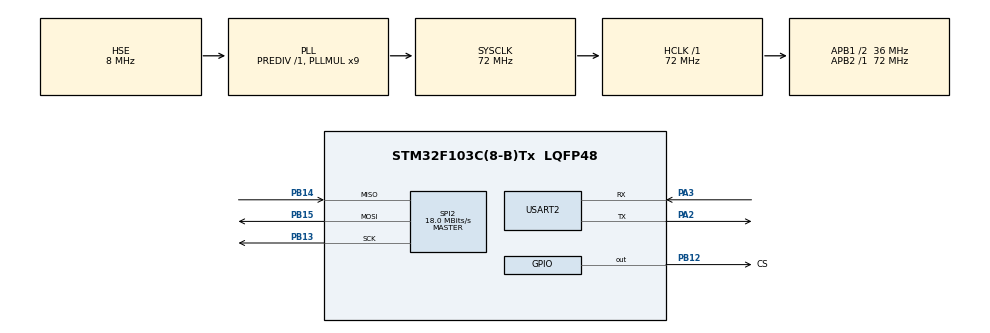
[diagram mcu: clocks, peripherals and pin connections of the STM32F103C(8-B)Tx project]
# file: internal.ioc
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Dma.Request0=SPI2_RX
Dma.Request1=SPI2_TX
Dma.SPI2_RX.0.Direction=DMA_PERIPH_TO_MEMORY
Dma.SPI2_RX.0.Instance=DMA1_Channel4
Dma.SPI2_RX.0.MemDataAlignment=DMA_MDATAALIGN_BYTE
Dma.SPI2_RX.0.MemInc=DMA_MINC_ENABLE
Dma.SPI2_RX.0.Mode=DMA_NORMAL
Dma.SPI2_RX.0.PeriphDataAlignment=DMA_PDATAALIGN_BYTE
Dma.SPI2_RX.0.PeriphInc=DMA_PINC_DISABLE
Dma.SPI2_RX.0.Priority=DMA_PRIORITY_LOW
Dma.SPI2_TX.1.Direction=DMA_MEMORY_TO_PERIPH
Dma.SPI2_TX.1.Instance=DMA1_Channel5
Dma.SPI2_TX.1.MemDataAlignment=DMA_MDATAALIGN_BYTE
Dma.SPI2_TX.1.MemInc=DMA_MINC_ENABLE
Dma.SPI2_TX.1.Mode=DMA_NORMAL
Dma.SPI2_TX.1.PeriphDataAlignment=DMA_PDATAALIGN_BYTE
Dma.SPI2_TX.1.PeriphInc=DMA_PINC_DISABLE
Dma.SPI2_TX.1.Priority=DMA_PRIORITY_LOW
Mcu.Family=STM32F1
Mcu.Name=STM32F103C(8-B)Tx
Mcu.Package=LQFP48
NVIC.DMA1_Channel4_IRQn=true\:0\:0\:false\:false\:true\:false\:true
NVIC.DMA1_Channel5_IRQn=true\:0\:0\:false\:false\:true\:false\:true
NVIC.PriorityGroup=NVIC_PRIORITYGROUP_4
NVIC.SPI2_IRQn=true\:0\:0\:false\:false\:true\:true\:true
NVIC.USART2_IRQn=true\:0\:0\:false\:false\:true\:true\:true
PA13.Mode=Serial_Wire
PA13.Signal=SYS_JTMS-SWDIO
PA14.Mode=Serial_Wire
PA14.Signal=SYS_JTCK-SWCLK
PA2.Mode=Asynchronous
PA2.Signal=USART2_TX
PA3.Mode=Asynchronous
PA3.Signal=USART2_RX
PB12.GPIO_Label=CS
PB12.Signal=GPIO_Output
PB13.Mode=Full_Duplex_Master
PB13.Signal=SPI2_SCK
PB14.Mode=Full_Duplex_Master
PB14.Signal=SPI2_MISO
PB15.Mode=Full_Duplex_Master
PB15.Signal=SPI2_MOSI
PD0-OSC_IN.Mode=HSE-External-Oscillator
PD0-OSC_IN.Signal=RCC_OSC_IN
PD1-OSC_OUT.Mode=HSE-External-Oscillator
PD1-OSC_OUT.Signal=RCC_OSC_OUT
ProjectManager.HeapSize=0x200
ProjectManager.StackSize=0x400
ProjectManager.TargetToolchain=STM32CubeIDE
RCC.AHBFreq_Value=72000000
RCC.APB1CLKDivider=RCC_HCLK_DIV2
RCC.APB1Freq_Value=36000000
RCC.APB1TimFreq_Value=72000000
RCC.APB2Freq_Value=72000000
RCC.APB2TimFreq_Value=72000000
RCC.HCLKFreq_Value=72000000
RCC.PLLMUL=RCC_PLL_MUL9
RCC.PLLSourceVirtual=RCC_PLLSOURCE_HSE
RCC.SYSCLKFreq_VALUE=72000000
RCC.SYSCLKSource=RCC_SYSCLKSOURCE_PLLCLK
RCC.USBFreq_Value=72000000
SPI2.CalculateBaudRate=18.0 MBits/s
SPI2.Direction=SPI_DIRECTION_2LINES
SPI2.Mode=SPI_MODE_MASTER
SPI2.VirtualType=VM_MASTER
USART2.VirtualMode=VM_ASYNC
board=custom

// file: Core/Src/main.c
/* USER CODE BEGIN Header */
/**
  ******************************************************************************
  * @file           : main.c
  * @brief          : Main program body
  ******************************************************************************
  * @attention
  *
  * <h2><center>&copy; Copyright (c) 2024 STMicroelectronics.
  * All rights reserved.</center></h2>
  *
  * This software component is licensed by ST under BSD 3-Clause license,
  * the "License"; You may not use this file except in compliance with the
  * License. You may obtain a copy of the License at:
  *                        opensource.org/licenses/BSD-3-Clause
  *
  ******************************************************************************
  */
/* USER CODE END Header */
#include "main.h"

/* USER CODE BEGIN Includes */

#include "lfs.h"
#include "nor.h"
/* USER CODE END Includes */

SPI_HandleTypeDef hspi2;
DMA_HandleTypeDef hdma_spi2_rx;
DMA_HandleTypeDef hdma_spi2_tx;

UART_HandleTypeDef huart2;

/* USER CODE BEGIN PV */
typedef struct{
	uint32_t secCount;
	uint32_t bootCount;
}app_count_t;
	lfs_file_t File;
		char Text[20];
		app_count_t Counter = {0};
		lfs_t Lfs;
		nor_t Nor;

/* USER CODE END PV */

void SystemClock_Config(void);
static void MX_GPIO_Init(void);
static void MX_USART2_UART_Init(void);
static void MX_DMA_Init(void);
static void MX_SPI2_Init(void);
/* USER CODE BEGIN PFP */
volatile uint8_t DmaEnd = 0;

void HAL_SPI_TxCpltCallback(SPI_HandleTypeDef *hspi){
	DmaEnd = 1;
}

void HAL_SPI_RxCpltCallback(SPI_HandleTypeDef *hspi){
	DmaEnd = 1;
}

void nor_delay_us(uint32_t us){
//	if (us >= __HAL_TIM_GET_AUTORELOAD(&htim2)){
//		us = __HAL_TIM_GET_AUTORELOAD(&htim2) - 1;
//	}
//	__HAL_TIM_SET_COUNTER(&htim2, 0);
//	HAL_TIM_Base_Start(&htim2);
//	while (__HAL_TIM_GET_COUNTER(&htim2) < us);
//	HAL_TIM_Base_Stop(&htim2);
	HAL_Delay(1000);
}

void nor_cs_assert(){
	HAL_GPIO_WritePin(GPIOB, GPIO_PIN_12, GPIO_PIN_RESET);
}

void nor_cs_deassert(){
	HAL_GPIO_WritePin(GPIOB, GPIO_PIN_12, GPIO_PIN_SET);
}

void nor_spi_tx(uint8_t *pData, uint32_t Size){
//	HAL_SPI_Transmit(&hspi2, pData, Size, 100);
	DmaEnd = 0;
	HAL_SPI_Transmit_DMA(&hspi2, pData, Size);
	while (DmaEnd == 0);
}

void nor_spi_rx(uint8_t *pData, uint32_t Size){
//	HAL_SPI_Receive(&hspi2, pData, Size, 100);
	DmaEnd = 0;
	HAL_SPI_Receive_DMA(&hspi2, pData, Size);
	while (DmaEnd == 0);
}

void __init_nor(){
	Nor.config.CsAssert = nor_cs_assert;
	Nor.config.CsDeassert = nor_cs_deassert;
	Nor.config.DelayUs = nor_delay_us;
	Nor.config.SpiRxFxn = nor_spi_rx;
	Nor.config.SpiTxFxn = nor_spi_tx;

	if (NOR_Init(&hspi2) != NOR_OK){
		Error_Handler();
	}
}

/** Start LittleFs **/

int _fs_read(const struct lfs_config *c, lfs_block_t block,
            lfs_off_t off, void *buffer, lfs_size_t size){

	if (NOR_ReadSector(&hspi2, (uint8_t*)buffer, block, off, size) == NOR_OK){
		return 0;
	}

	return LFS_ERR_IO;
}

int _fs_write(const struct lfs_config *c, lfs_block_t block,
        lfs_off_t off, const void *buffer, lfs_size_t size){

	if (NOR_WriteSector(&hspi2, (uint8_t*)buffer, block, off, size) == NOR_OK){
		return 0;
	}

	return LFS_ERR_IO;
}

int _fs_erase(const struct lfs_config *c, lfs_block_t block){
	if (NOR_EraseSector(&hspi2, block) == NOR_OK){
		return 0;
	}

	return LFS_ERR_IO;
}

int _fs_sync(const struct lfs_config *c){
	return 0;
}

void __init_littefs(){
	// because of static qualifier, this variable
	// will have a dedicated address
	static struct lfs_config LfsConfig = {0};
	int Error;

	LfsConfig.read_size = 64;
	LfsConfig.prog_size = 64;
	LfsConfig.block_size = Nor.info.u16SectorSize;
	LfsConfig.block_count = Nor.info.u32SectorCount;
	LfsConfig.cache_size = Nor.info.u16PageSize;
	LfsConfig.lookahead_size = Nor.info.u32SectorCount/8;
	LfsConfig.block_cycles = 15000;

	LfsConfig.read = _fs_read;
	LfsConfig.prog = _fs_write;
	LfsConfig.erase = _fs_erase;
	LfsConfig.sync = _fs_sync;

	Error = lfs_mount(&Lfs, &LfsConfig);
	if (Error != LFS_ERR_OK){
		lfs_format(&Lfs, &LfsConfig);
		Error = lfs_mount(&Lfs, &LfsConfig);
		if (Error != LFS_ERR_OK){
			Error_Handler();
		}
	}
}

void __init_storage(){
	__init_nor();
	__init_littefs();
}

/** Lcd Functions **/

/* USER CODE END PFP */

int main(void)
{

  /* MCU Configuration--------------------------------------------------------*/

  /* Reset of all peripherals, Initializes the Flash interface and the Systick. */
  HAL_Init();

  /* Configure the system clock */
  SystemClock_Config();

  /* Initialize all configured peripherals */
  MX_GPIO_Init();
  MX_USART2_UART_Init();
  MX_DMA_Init();
  MX_SPI2_Init();
  /* USER CODE BEGIN 2 */
  HAL_Delay(100);

  HAL_UART_Transmit(&huart2,"EPDM is starting *********\n", sizeof("EPDM is starting *********\n"),1000);

   lfs_file_open(&Lfs, &File, "count.bin", LFS_O_RDWR | LFS_O_CREAT);
   lfs_file_read(&Lfs, &File, &Counter, sizeof(app_count_t));
   lfs_file_close(&Lfs, &File);

   Counter.bootCount += 1;
  /* USER CODE END 2 */

  /* Infinite loop */
  /* USER CODE BEGIN WHILE */
  while (1)
  {
	  sprintf(Text, "Bt %lu |Ct %lu", Counter.bootCount, Counter.secCount);
	  HAL_UART_Transmit(&huart2,Text, sizeof(Text),1000);

		  lfs_file_open(&Lfs, &File, "count.bin", LFS_O_RDWR | LFS_O_CREAT);
		  lfs_file_write(&Lfs, &File, &Counter, sizeof(app_count_t));
		  lfs_file_close(&Lfs, &File);

//		  while ((HAL_GetTick() - HalTickAux) < 1000);
		  HAL_Delay(1000);

		  Counter.secCount += 1;
    /* USER CODE END WHILE */

  }
}

void SystemClock_Config(void)
{
  RCC_OscInitTypeDef RCC_OscInitStruct = {0};
  RCC_ClkInitTypeDef RCC_ClkInitStruct = {0};

  /** Initializes the RCC Oscillators according to the specified parameters
  * in the RCC_OscInitTypeDef structure.
  */
  RCC_OscInitStruct.OscillatorType = RCC_OSCILLATORTYPE_HSE;
  RCC_OscInitStruct.HSEState = RCC_HSE_ON;
  RCC_OscInitStruct.HSEPredivValue = RCC_HSE_PREDIV_DIV1;
  RCC_OscInitStruct.HSIState = RCC_HSI_ON;
  RCC_OscInitStruct.PLL.PLLState = RCC_PLL_ON;
  RCC_OscInitStruct.PLL.PLLSource = RCC_PLLSOURCE_HSE;
  RCC_OscInitStruct.PLL.PLLMUL = RCC_PLL_MUL9;
  if (HAL_RCC_OscConfig(&RCC_OscInitStruct) != HAL_OK)
  {
    Error_Handler();
  }
  /** Initializes the CPU, AHB and APB buses clocks
  */
  RCC_ClkInitStruct.ClockType = RCC_CLOCKTYPE_HCLK|RCC_CLOCKTYPE_SYSCLK
                              |RCC_CLOCKTYPE_PCLK1|RCC_CLOCKTYPE_PCLK2;
  RCC_ClkInitStruct.SYSCLKSource = RCC_SYSCLKSOURCE_PLLCLK;
  RCC_ClkInitStruct.AHBCLKDivider = RCC_SYSCLK_DIV1;
  RCC_ClkInitStruct.APB1CLKDivider = RCC_HCLK_DIV2;
  RCC_ClkInitStruct.APB2CLKDivider = RCC_HCLK_DIV1;

  if (HAL_RCC_ClockConfig(&RCC_ClkInitStruct, FLASH_LATENCY_2) != HAL_OK)
  {
    Error_Handler();
  }
}

static void MX_SPI2_Init(void)
{

  /* SPI2 parameter configuration*/
  hspi2.Instance = SPI2;
  hspi2.Init.Mode = SPI_MODE_MASTER;
  hspi2.Init.Direction = SPI_DIRECTION_2LINES;
  hspi2.Init.DataSize = SPI_DATASIZE_8BIT;
  hspi2.Init.CLKPolarity = SPI_POLARITY_LOW;
  hspi2.Init.CLKPhase = SPI_PHASE_1EDGE;
  hspi2.Init.NSS = SPI_NSS_SOFT;
  hspi2.Init.BaudRatePrescaler = SPI_BAUDRATEPRESCALER_2;
  hspi2.Init.FirstBit = SPI_FIRSTBIT_MSB;
  hspi2.Init.TIMode = SPI_TIMODE_DISABLE;
  hspi2.Init.CRCCalculation = SPI_CRCCALCULATION_DISABLE;
  hspi2.Init.CRCPolynomial = 10;
  if (HAL_SPI_Init(&hspi2) != HAL_OK)
  {
    Error_Handler();
  }

}

static void MX_USART2_UART_Init(void)
{

  huart2.Instance = USART2;
  huart2.Init.BaudRate = 115200;
  huart2.Init.WordLength = UART_WORDLENGTH_8B;
  huart2.Init.StopBits = UART_STOPBITS_1;
  huart2.Init.Parity = UART_PARITY_NONE;
  huart2.Init.Mode = UART_MODE_TX_RX;
  huart2.Init.HwFlowCtl = UART_HWCONTROL_NONE;
  huart2.Init.OverSampling = UART_OVERSAMPLING_16;
  if (HAL_UART_Init(&huart2) != HAL_OK)
  {
    Error_Handler();
  }

}

static void MX_DMA_Init(void)
{

  /* DMA controller clock enable */
  __HAL_RCC_DMA1_CLK_ENABLE();

  /* DMA interrupt init */
  /* DMA1_Channel4_IRQn interrupt configuration */
  HAL_NVIC_SetPriority(DMA1_Channel4_IRQn, 0, 0);
  HAL_NVIC_EnableIRQ(DMA1_Channel4_IRQn);
  /* DMA1_Channel5_IRQn interrupt configuration */
  HAL_NVIC_SetPriority(DMA1_Channel5_IRQn, 0, 0);
  HAL_NVIC_EnableIRQ(DMA1_Channel5_IRQn);

}

static void MX_GPIO_Init(void)
{
  GPIO_InitTypeDef GPIO_InitStruct = {0};

  /* GPIO Ports Clock Enable */
  __HAL_RCC_GPIOD_CLK_ENABLE();
  __HAL_RCC_GPIOA_CLK_ENABLE();
  __HAL_RCC_GPIOB_CLK_ENABLE();

  /*Configure GPIO pin Output Level */
  HAL_GPIO_WritePin(CS_GPIO_Port, CS_Pin, GPIO_PIN_RESET);

  /*Configure GPIO pin : CS_Pin */
  GPIO_InitStruct.Pin = CS_Pin;
  GPIO_InitStruct.Mode = GPIO_MODE_OUTPUT_PP;
  GPIO_InitStruct.Pull = GPIO_NOPULL;
  GPIO_InitStruct.Speed = GPIO_SPEED_FREQ_LOW;
  HAL_GPIO_Init(CS_GPIO_Port, &GPIO_InitStruct);

}

void Error_Handler(void)
{
  __disable_irq();
  while (1)
  {
  }
}

/************************ (C) COPYRIGHT STMicroelectronics *****END OF FILE****/
